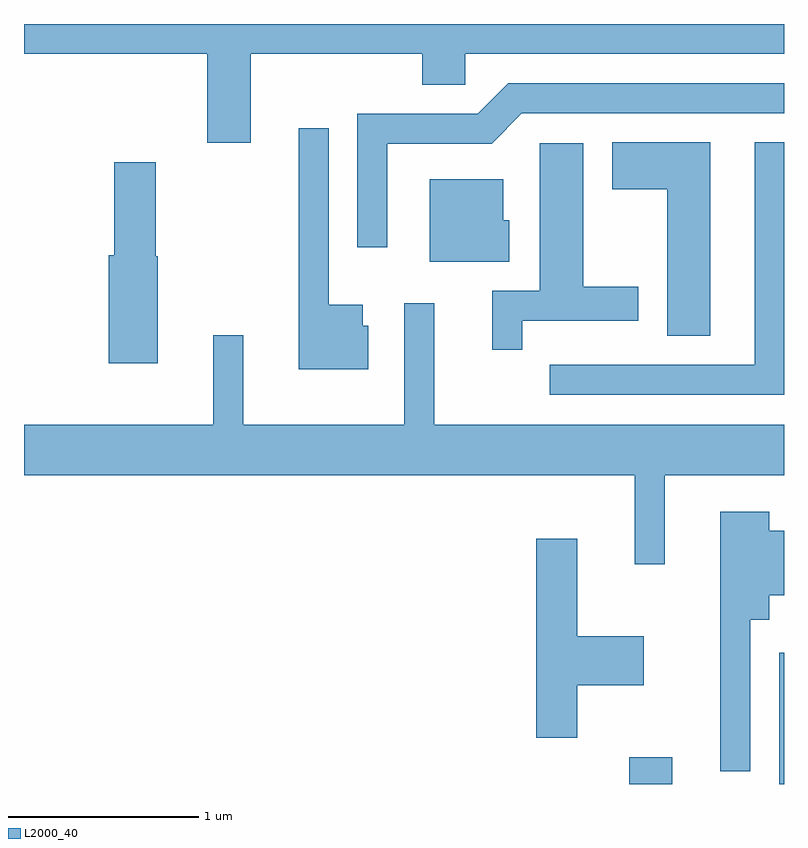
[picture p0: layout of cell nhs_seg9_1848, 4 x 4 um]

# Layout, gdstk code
import gdstk
lib = gdstk.Library(unit=1e-6, precision=1e-09)
def R(c, l, rs):  # rectangles x0, y0, x1, y1
    for r in rs: c.add(gdstk.rectangle(r[:2], r[2:], *l))
def P(c, l, *ps):  # polygons
    for p in ps: c.add(gdstk.Polygon(p, *l))
L2000_40 = (2000, 40)

nhs_seg9_1848 = lib.new_cell('nhs_seg9_1848')
R(nhs_seg9_1848, L2000_40, [(242.796,1972.432,243.024,1972.574), (243.586,1972.432,243.611,1973.123)])
P(nhs_seg9_1848, L2000_40, [(240.804,1976.276),(241.706,1976.276),(241.706,1976.111),(241.934,1976.111),(241.934,1976.276),(243.611,1976.276),(243.611,1976.432),(239.611,1976.432),(239.611,1976.276),(240.576,1976.276),(240.576,1975.806),(240.804,1975.806)],
  [(241.524,1975.801),(242.072,1975.801),(242.232,1975.961),(243.611,1975.961),(243.611,1976.119),(242.159,1976.119),(241.999,1975.959),(241.366,1975.959),(241.366,1975.258),(241.524,1975.258)],
  [(241.424,1974.844),(241.394,1974.844),(241.394,1974.954),(241.214,1974.954),(241.214,1975.883),(241.056,1975.883),(241.056,1974.616),(241.424,1974.616)],
  [(243.224,1975.809),(242.706,1975.809),(242.706,1975.561),(242.996,1975.561),(242.996,1974.791),(243.224,1974.791)],
  [(243.611,1975.809),(243.456,1975.809),(243.456,1974.639),(242.378,1974.639),(242.378,1974.481),(243.611,1974.481)],
  [(242.234,1974.871),(242.844,1974.871),(242.844,1975.049),(242.554,1975.049),(242.554,1975.804),(242.326,1975.804),(242.326,1975.029),(242.076,1975.029),(242.076,1974.718),(242.234,1974.718)],
  [(240.314,1975.21),(240.304,1975.21),(240.304,1975.704),(240.086,1975.704),(240.086,1975.214),(240.056,1975.214),(240.056,1974.646),(240.314,1974.646)],
  [(242.164,1975.399),(242.134,1975.399),(242.134,1975.614),(241.746,1975.614),(241.746,1975.181),(242.164,1975.181)],
  [(242.984,1974.056),(243.611,1974.056),(243.611,1974.324),(241.769,1974.324),(241.769,1974.963),(241.611,1974.963),(241.611,1974.324),(240.764,1974.324),(240.764,1974.793),(240.606,1974.793),(240.606,1974.324),(239.611,1974.324),(239.611,1974.056),(242.826,1974.056),(242.826,1973.588),(242.984,1973.588)],
  [(243.434,1973.296),(243.534,1973.296),(243.534,1973.426),(243.611,1973.426),(243.611,1973.764),(243.534,1973.764),(243.534,1973.864),(243.276,1973.864),(243.276,1972.498),(243.434,1972.498)],
  [(242.524,1972.951),(242.874,1972.951),(242.874,1973.209),(242.524,1973.209),(242.524,1973.724),(242.306,1973.724),(242.306,1972.676),(242.524,1972.676)])

lib.write_gds('nhs_seg9_1848.gds')
